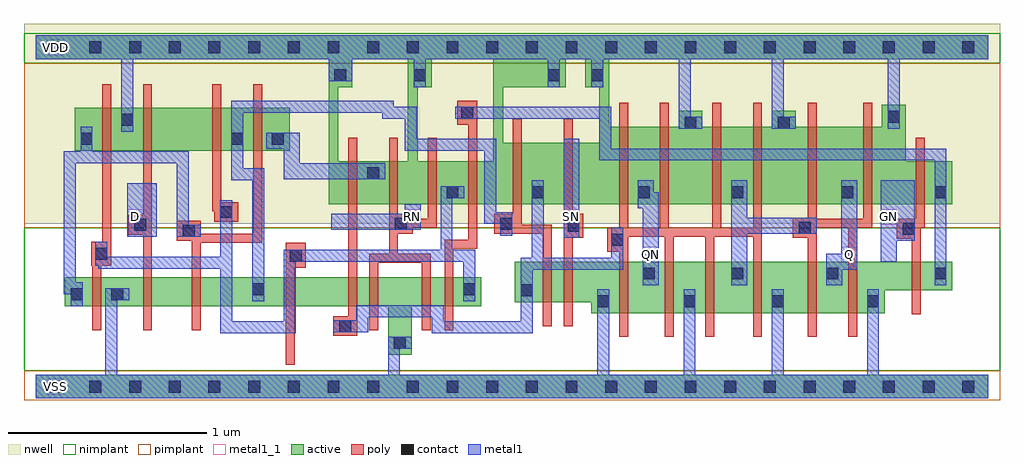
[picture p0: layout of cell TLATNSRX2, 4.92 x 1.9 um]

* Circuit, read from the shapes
.subckt TLATNSRX2 D GN Q QN RN SN VDD VSS
M1 VSS n1 n2 VSS nfet w=0.145u l=0.045u
M2 n3 D VSS VSS nfet w=0.145u l=0.045u
M3 n4 n2 n3 VSS nfet w=0.145u l=0.045u
M4 n5 n1 n4 VSS nfet w=0.145u l=0.045u
M5 n6 n7 n5 VSS nfet w=0.145u l=0.045u
M6 VSS RN n6 VSS nfet w=0.145u l=0.045u
M7 n8 RN VSS VSS nfet w=0.145u l=0.045u
M8 n1 n9 n8 VSS nfet w=0.145u l=0.045u
M9 n10 n4 n7 VSS nfet w=0.205u l=0.045u
M10 VSS SN n10 VSS nfet w=0.205u l=0.045u
M11 QN n7 VSS VSS nfet w=0.26u l=0.045u m=2
M12 n11 n7 VSS VSS nfet w=0.26u l=0.045u m=2
M13 Q n11 VSS VSS nfet w=0.26u l=0.045u m=2
M14 n9 GN VSS VSS nfet w=0.145u l=0.045u
M15 VDD n1 n2 VDD pfet w=0.215u l=0.045u
M16 n12 D VDD VDD pfet w=0.215u l=0.045u
M17 n4 n1 n12 VDD pfet w=0.215u l=0.045u
M18 n13 n2 n4 VDD pfet w=0.215u l=0.045u
M19 n13 n7 VDD VDD pfet w=0.215u l=0.045u
M20 VDD RN n13 VDD pfet w=0.215u l=0.045u
M21 n1 RN VDD VDD pfet w=0.215u l=0.045u
M22 VDD n9 n1 VDD pfet w=0.215u l=0.045u
M23 n7 n4 VDD VDD pfet w=0.31u l=0.045u
M24 VDD SN n7 VDD pfet w=0.31u l=0.045u
M25 QN n7 VDD VDD pfet w=0.39u l=0.045u m=2
M26 n11 n7 VDD VDD pfet w=0.39u l=0.045u m=2
M27 Q n11 VDD VDD pfet w=0.39u l=0.045u m=2
M28 n9 GN VDD VDD pfet w=0.215u l=0.045u
.ends

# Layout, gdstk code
import gdstk
lib = gdstk.Library(unit=1e-6, precision=5e-10)
def R(c, l, rs):  # rectangles x0, y0, x1, y1
    for r in rs: c.add(gdstk.rectangle(r[:2], r[2:], *l))
def A(c, l, x, y, w, h, nx, ny, dx, dy):  # array of equal rectangles
    R(c, l, [(x+i*dx, y+j*dy, x+i*dx+w, y+j*dy+h) for i in range(nx) for j in range(ny)])
def P(c, l, *ps):  # polygons
    for p in ps: c.add(gdstk.Polygon(p, *l))
active = (1, 0)
nwell = (2, 0)
poly = (3, 0)
nimplant = (4, 0)
pimplant = (5, 0)
contact = (6, 0)
metal1 = (7, 0)
metal1_1 = (7, 1)

tlatnsrx2 = lib.new_cell('TLATNSRX2')
R(tlatnsrx2, active, [(0,-0.06,4.8,0.06), (0.195,1.19,1.28,1.405)])
P(tlatnsrx2, active, [(0,1.77),(4.8,1.77),(4.8,1.65),(2.89,1.65),(2.89,1.31),(3.24,1.31),(3.24,1.39),(3.36,1.39),(3.36,1.31),(3.71,1.31),(3.71,1.39),(3.83,1.39),(3.83,1.31),(4.265,1.31),(4.265,1.42),(4.385,1.42),(4.385,1.135),(4.62,1.135),(4.62,0.92),(1.475,0.92),(1.475,1.65),(1.595,1.65),(1.595,1.51),(1.525,1.51),(1.525,1.135),(1.875,1.135),(1.875,1.65),(1.995,1.65),(1.995,1.51),(1.925,1.51),(1.925,1.135),(2.305,1.135),(2.305,1.65),(2.67,1.65),(2.67,1.51),(2.355,1.51),(2.355,1.23),(2.84,1.23),(2.84,1.51),(2.77,1.51),(2.77,1.65),(0,1.65)],
  [(0.145,0.55),(2.245,0.55),(2.245,0.405),(1.895,0.405),(1.895,0.16),(1.775,0.16),(1.775,0.405),(0.145,0.405)],
  [(2.415,0.63),(4.62,0.63),(4.62,0.485),(4.28,0.485),(4.28,0.37),(2.8,0.37),(2.8,0.425),(2.415,0.425)])
R(tlatnsrx2, nwell, [(-0.06,0.82,4.86,1.83)])
P(tlatnsrx2, poly, [(0.335,1.525),(0.38,1.525),(0.38,0.61),(0.33,0.61),(0.33,0.285),(0.285,0.285),(0.285,0.61),(0.28,0.61),(0.28,0.73),(0.335,0.73)],
  [(0.54,1.525),(0.585,1.525),(0.585,0.285),(0.54,0.285),(0.54,0.765),(0.465,0.765),(0.465,0.865),(0.54,0.865)],
  [(0.89,1.525),(0.935,1.525),(0.935,0.93),(1.02,0.93),(1.02,0.83),(0.9,0.83),(0.9,0.885),(0.89,0.885)],
  [(0.71,0.835),(0.83,0.835),(0.83,0.77),(1.095,0.77),(1.095,1.525),(1.14,1.525),(1.14,0.725),(0.83,0.725),(0.83,0.285),(0.785,0.285),(0.785,0.735),(0.71,0.735)],
  [(2.125,1.44),(2.225,1.44),(2.225,0.695),(2.105,0.695),(2.105,0.285),(2.06,0.285),(2.06,0.74),(2.18,0.74),(2.18,1.32),(2.125,1.32)],
  [(1.575,1.255),(1.62,1.255),(1.62,0.255),(1.5,0.255),(1.5,0.355),(1.575,0.355)],
  [(1.78,1.255),(1.825,1.255),(1.825,0.87),(1.9,0.87),(1.9,0.845),(1.975,0.845),(1.975,1.255),(2.02,1.255),(2.02,0.8),(1.9,0.8),(1.9,0.77),(1.825,0.77),(1.825,0.67),(1.99,0.67),(1.99,0.285),(1.945,0.285),(1.945,0.625),(1.725,0.625),(1.725,0.285),(1.68,0.285),(1.68,0.67),(1.78,0.67)],
  [(2.405,1.35),(2.45,1.35),(2.45,0.815),(2.6,0.815),(2.6,0.305),(2.555,0.305),(2.555,0.77),(2.31,0.77),(2.31,0.87),(2.405,0.87)],
  [(2.66,1.35),(2.705,1.35),(2.705,0.87),(2.76,0.87),(2.76,0.75),(2.705,0.75),(2.705,0.305),(2.66,0.305)],
  [(2.94,1.43),(2.985,1.43),(2.985,0.8),(3.145,0.8),(3.145,1.43),(3.19,1.43),(3.19,0.8),(3.41,0.8),(3.41,1.43),(3.455,1.43),(3.455,0.8),(3.615,0.8),(3.615,1.43),(3.66,1.43),(3.66,0.25),(3.615,0.25),(3.615,0.755),(3.42,0.755),(3.42,0.25),(3.375,0.25),(3.375,0.755),(3.215,0.755),(3.215,0.25),(3.17,0.25),(3.17,0.755),(2.985,0.755),(2.985,0.25),(2.94,0.25),(2.94,0.68),(2.88,0.68),(2.88,0.8),(2.94,0.8)],
  [(3.89,1.43),(3.935,1.43),(3.935,0.845),(4.17,0.845),(4.17,1.43),(4.215,1.43),(4.215,0.8),(4.14,0.8),(4.14,0.25),(4.095,0.25),(4.095,0.8),(3.935,0.8),(3.935,0.25),(3.89,0.25),(3.89,0.75),(3.815,0.75),(3.815,0.85),(3.89,0.85)],
  [(4.435,1.255),(4.48,1.255),(4.48,0.8),(4.46,0.8),(4.46,0.365),(4.415,0.365),(4.415,0.745),(4.34,0.745),(4.34,0.845),(4.435,0.845)],
  [(1.26,0.725),(1.36,0.725),(1.36,0.6),(1.305,0.6),(1.305,0.11),(1.26,0.11)])
R(tlatnsrx2, nimplant, [(-0.06,0.08,4.86,0.8), (-0.06,1.63,4.86,1.78)])
R(tlatnsrx2, pimplant, [(-0.06,-0.07,4.86,0.08), (-0.06,0.8,4.86,1.63)])
A(tlatnsrx2, contact, 0.07, -0.03, 0.06, 0.06, 24, 2, 0.2, 1.71)
R(tlatnsrx2, contact, [(1.805,0.19,1.865,0.25), (1.53,0.275,1.59,0.335), (2.83,0.4,2.89,0.46), (3.265,0.4,3.325,0.46), (3.71,0.4,3.77,0.46), (4.19,0.4,4.25,0.46), (0.175,0.435,0.235,0.495), (0.38,0.435,0.44,0.495), (2.445,0.455,2.505,0.515), (1.09,0.46,1.15,0.52), (2.155,0.46,2.215,0.52), (3.06,0.54,3.12,0.6), (3.505,0.54,3.565,0.6), (3.985,0.54,4.045,0.6), (4.53,0.54,4.59,0.6), (1.28,0.63,1.34,0.69), (0.3,0.64,0.36,0.7), (2.9,0.71,2.96,0.77), (0.74,0.755,0.8,0.815), (4.37,0.765,4.43,0.825), (3.845,0.77,3.905,0.83), (2.68,0.78,2.74,0.84), (0.495,0.785,0.555,0.845), (1.81,0.79,1.87,0.85), (2.34,0.79,2.4,0.85), (0.93,0.85,0.99,0.91), (2.07,0.95,2.13,1.01), (2.5,0.95,2.56,1.01), (3.035,0.95,3.095,1.01), (3.505,0.95,3.565,1.01), (4.06,0.95,4.12,1.01), (4.53,0.95,4.59,1.01), (1.67,1.045,1.73,1.105), (0.225,1.22,0.285,1.28), (0.985,1.22,1.045,1.28), (1.19,1.22,1.25,1.28), (3.27,1.3,3.33,1.36), (3.74,1.3,3.8,1.36), (0.43,1.315,0.49,1.375), (4.295,1.33,4.355,1.39), (2.145,1.35,2.205,1.41), (1.505,1.54,1.565,1.6), (1.905,1.54,1.965,1.6), (2.58,1.54,2.64,1.6), (2.8,1.54,2.86,1.6)])
R(tlatnsrx2, metal1, [(2.66,0.75,2.74,1.25), (0.46,0.755,0.61,1.025)])
P(tlatnsrx2, metal1, [(0,1.77),(4.8,1.77),(4.8,1.65),(4.355,1.65),(4.355,1.3),(4.295,1.3),(4.295,1.65),(3.77,1.65),(3.77,1.36),(3.83,1.36),(3.83,1.3),(3.71,1.3),(3.71,1.65),(3.3,1.65),(3.3,1.36),(3.36,1.36),(3.36,1.3),(3.24,1.3),(3.24,1.65),(2.86,1.65),(2.86,1.51),(2.8,1.51),(2.8,1.65),(2.64,1.65),(2.64,1.51),(2.58,1.51),(2.58,1.65),(1.965,1.65),(1.965,1.51),(1.905,1.51),(1.905,1.65),(1.595,1.65),(1.595,1.54),(1.475,1.54),(1.475,1.65),(0.49,1.65),(0.49,1.285),(0.43,1.285),(0.43,1.65),(0,1.65)],
  [(0.225,1.31),(0.285,1.31),(0.285,1.185),(0.77,1.185),(0.77,0.815),(0.83,0.815),(0.83,0.755),(0.71,0.755),(0.71,1.125),(0.2,1.125),(0.2,0.525),(0.235,0.525),(0.235,0.405),(0.175,0.405),(0.175,0.465),(0.14,0.465),(0.14,1.185),(0.225,1.185)],
  [(0.985,1.44),(1.805,1.44),(1.805,1.41),(1.92,1.41),(1.92,1.25),(2.32,1.25),(2.32,0.88),(2.4,0.88),(2.4,0.76),(2.34,0.76),(2.34,0.82),(2.26,0.82),(2.26,1.19),(1.86,1.19),(1.86,1.35),(1.745,1.35),(1.745,1.38),(1.045,1.38),(1.045,1.1),(1.15,1.1),(1.15,0.43),(1.09,0.43),(1.09,1.04),(0.985,1.04)],
  [(2.115,1.41),(2.9,1.41),(2.9,1.2),(4.59,1.2),(4.59,0.51),(4.53,0.51),(4.53,1.14),(2.84,1.14),(2.84,1.35),(2.115,1.35)],
  [(1.16,1.28),(1.33,1.28),(1.33,1.125),(1.76,1.125),(1.76,1.045),(1.25,1.045),(1.25,1.2),(1.16,1.2)],
  [(2.04,1.01),(2.16,1.01),(2.16,0.95),(2.1,0.95),(2.1,0.69),(2.215,0.69),(2.215,0.43),(2.155,0.43),(2.155,0.63),(1.31,0.63),(1.31,0.27),(0.93,0.27),(0.93,0.595),(0.315,0.595),(0.315,0.61),(0.3,0.61),(0.3,0.73),(0.36,0.73),(0.36,0.655),(0.93,0.655),(0.93,0.94),(0.99,0.94),(0.99,0.33),(1.25,0.33),(1.25,0.69),(2.04,0.69)],
  [(0.35,0.495),(0.47,0.495),(0.47,0.435),(0.41,0.435),(0.41,0.06),(1.775,0.06),(1.775,0.25),(1.895,0.25),(1.895,0.19),(1.835,0.19),(1.835,0.06),(2.83,0.06),(2.83,0.49),(2.89,0.49),(2.89,0.06),(3.265,0.06),(3.265,0.49),(3.325,0.49),(3.325,0.06),(3.71,0.06),(3.71,0.49),(3.77,0.49),(3.77,0.06),(4.19,0.06),(4.19,0.49),(4.25,0.49),(4.25,0.06),(4.8,0.06),(4.8,-0.06),(0,-0.06),(0,0.06),(0.35,0.06)],
  [(1.86,0.92),(1.94,0.92),(1.94,0.79),(1.49,0.79),(1.49,0.87),(1.86,0.87)],
  [(2.5,1.04),(2.56,1.04),(2.56,0.65),(2.9,0.65),(2.9,0.8),(2.96,0.8),(2.96,0.59),(2.505,0.59),(2.505,0.27),(1.995,0.27),(1.995,0.35),(1.675,0.35),(1.675,0.275),(1.5,0.275),(1.5,0.335),(1.615,0.335),(1.615,0.41),(2.055,0.41),(2.055,0.33),(2.445,0.33),(2.445,0.65),(2.5,0.65)],
  [(3.035,1.04),(3.115,1.04),(3.115,0.98),(3.14,0.98),(3.14,0.51),(3.06,0.51),(3.06,0.9),(3.035,0.9)],
  [(3.505,1.04),(3.585,1.04),(3.585,0.85),(3.935,0.85),(3.935,0.77),(3.585,0.77),(3.585,0.51),(3.505,0.51)],
  [(4.06,1.04),(4.14,1.04),(4.14,0.59),(4.065,0.59),(4.065,0.51),(3.985,0.51),(3.985,0.67),(4.06,0.67)],
  [(4.26,1.04),(4.43,1.04),(4.43,0.735),(4.34,0.735),(4.34,0.63),(4.26,0.63)])
R(tlatnsrx2, metal1_1, [(0.06,-0.04,0.14,0.04), (3.06,0.625,3.14,0.705), (4.06,0.625,4.14,0.705), (0.46,0.815,0.54,0.895), (1.86,0.815,1.94,0.895), (2.66,0.815,2.74,0.895), (4.26,0.815,4.34,0.895), (0.06,1.67,0.14,1.75)])
tlatnsrx2.add(gdstk.Label('Q', (4.1,0.665), layer=7, texttype=1))
tlatnsrx2.add(gdstk.Label('QN', (3.1,0.665), layer=7, texttype=1))
tlatnsrx2.add(gdstk.Label('GN', (4.3,0.855), layer=7, texttype=1))
tlatnsrx2.add(gdstk.Label('SN', (2.7,0.855), layer=7, texttype=1))
tlatnsrx2.add(gdstk.Label('RN', (1.9,0.855), layer=7, texttype=1))
tlatnsrx2.add(gdstk.Label('D', (0.5,0.855), layer=7, texttype=1))
tlatnsrx2.add(gdstk.Label('VDD', (0.1,1.71), layer=7, texttype=1))
tlatnsrx2.add(gdstk.Label('VSS', (0.1,0), layer=7, texttype=1))
tlatnsrx2.add(gdstk.Label('TLATNSRX2', (0,0), layer=63, texttype=0))

lib.write_gds('TLATNSRX2.gds')
